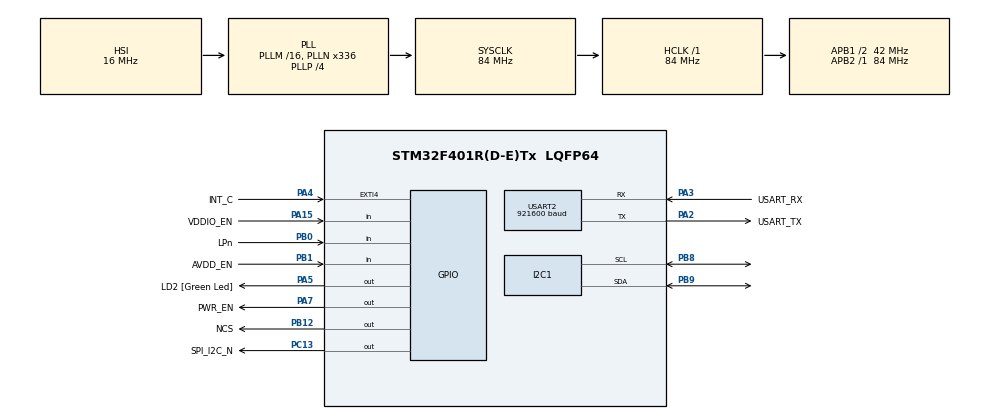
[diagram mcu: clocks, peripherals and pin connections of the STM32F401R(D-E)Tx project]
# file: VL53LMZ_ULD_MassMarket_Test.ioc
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Dma.Request0=USART2_TX
Dma.USART2_TX.0.Direction=DMA_MEMORY_TO_PERIPH
Dma.USART2_TX.0.FIFOMode=DMA_FIFOMODE_DISABLE
Dma.USART2_TX.0.Instance=DMA1_Stream6
Dma.USART2_TX.0.MemDataAlignment=DMA_MDATAALIGN_BYTE
Dma.USART2_TX.0.MemInc=DMA_MINC_ENABLE
Dma.USART2_TX.0.Mode=DMA_NORMAL
Dma.USART2_TX.0.PeriphDataAlignment=DMA_PDATAALIGN_BYTE
Dma.USART2_TX.0.PeriphInc=DMA_PINC_DISABLE
Dma.USART2_TX.0.Priority=DMA_PRIORITY_LOW
I2C1.I2C_Mode=I2C_Fast
Mcu.Family=STM32F4
Mcu.Name=STM32F401R(D-E)Tx
Mcu.Package=LQFP64
NVIC.DMA1_Stream6_IRQn=true\:0\:0\:false\:false\:true\:false\:true\:true
NVIC.EXTI4_IRQn=true\:0\:0\:false\:false\:true\:true\:true\:true
NVIC.PriorityGroup=NVIC_PRIORITYGROUP_0
NVIC.USART2_IRQn=true\:0\:0\:false\:false\:true\:true\:true\:true
PA14.GPIO_Label=TCK
PA14.Signal=SYS_JTCK-SWCLK
PA15.GPIO_Label=VDDIO_EN
PA15.Signal=GPIO_Input
PA2.GPIO_Label=USART_TX
PA2.GPIO_Mode=GPIO_MODE_AF_PP
PA2.GPIO_PuPd=GPIO_NOPULL
PA2.GPIO_Speed=GPIO_SPEED_FREQ_LOW
PA2.Mode=Asynchronous
PA2.Signal=USART2_TX
PA3.GPIO_Label=USART_RX
PA3.GPIO_Mode=GPIO_MODE_AF_PP
PA3.GPIO_PuPd=GPIO_NOPULL
PA3.GPIO_Speed=GPIO_SPEED_FREQ_LOW
PA3.Mode=Asynchronous
PA3.Signal=USART2_RX
PA4.GPIO_Label=INT_C
PA4.GPIO_ModeDefaultEXTI=GPIO_MODE_IT_FALLING
PA4.Signal=GPXTI4
PA5.GPIO_Label=LD2 [Green Led]
PA5.GPIO_Mode=GPIO_MODE_OUTPUT_PP
PA5.GPIO_PuPd=GPIO_NOPULL
PA5.GPIO_Speed=GPIO_SPEED_FREQ_LOW
PA5.Signal=GPIO_Output
PA7.GPIO_Label=PWR_EN
PA7.Signal=GPIO_Output
PA7.Stacked=true
PB0.GPIO_Label=LPn
PB0.GPIO_PuPd=GPIO_PULLUP
PB0.Signal=GPIO_Input
PB1.GPIO_Label=AVDD_EN
PB1.GPIO_PuPd=GPIO_PULLUP
PB1.Signal=GPIO_Input
PB12.GPIO_Label=NCS
PB12.Signal=GPIO_Output
PB8.Mode=I2C
PB8.Signal=I2C1_SCL
PB9.Mode=I2C
PB9.Signal=I2C1_SDA
PC13-ANTI_TAMP.GPIO_Label=SPI_I2C_N
PC13-ANTI_TAMP.GPIO_ModeDefaultOutputPP=GPIO_MODE_OUTPUT_PP
PC13-ANTI_TAMP.GPIO_PuPd=GPIO_NOPULL
PC13-ANTI_TAMP.Signal=GPIO_Output
PC14-OSC32_IN.Mode=LSE-External-Oscillator
PC14-OSC32_IN.Signal=RCC_OSC32_IN
PC15-OSC32_OUT.Mode=LSE-External-Oscillator
PC15-OSC32_OUT.Signal=RCC_OSC32_OUT
PH0\ -\ OSC_IN.Mode=HSE-External-Clock-Source
PH0\ -\ OSC_IN.Signal=RCC_OSC_IN
PH1\ -\ OSC_OUT.Mode=HSE-External-Clock-Source
PH1\ -\ OSC_OUT.Signal=RCC_OSC_OUT
ProjectManager.HeapSize=0x200
ProjectManager.StackSize=0x400
ProjectManager.TargetToolchain=STM32CubeIDE
RCC.48MHZClocksFreq_Value=48000000
RCC.AHBFreq_Value=84000000
RCC.APB1CLKDivider=RCC_HCLK_DIV2
RCC.APB1Freq_Value=42000000
RCC.APB1TimFreq_Value=84000000
RCC.APB2Freq_Value=84000000
RCC.APB2TimFreq_Value=84000000
RCC.CortexFreq_Value=84000000
RCC.HCLKFreq_Value=84000000
RCC.HSE_VALUE=8000000
RCC.HSI_VALUE=16000000
RCC.PLLN=336
RCC.PLLP=RCC_PLLP_DIV4
RCC.PLLQ=7
RCC.SYSCLKFreq_VALUE=84000000
RCC.SYSCLKSource=RCC_SYSCLKSOURCE_PLLCLK
RCC.VCOOutputFreq_Value=336000000
USART2.BaudRate=921600
USART2.OverSampling=UART_OVERSAMPLING_16
USART2.VirtualMode=VM_ASYNC
board=NUCLEO-F401RE

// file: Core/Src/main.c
/* USER CODE BEGIN Header */
/**
  ******************************************************************************
  * @file           : main.c
  * @brief          : Main program body
  ******************************************************************************
  * @attention
  *
  * Copyright (c) 2023 STMicroelectronics.
  * All rights reserved.
  *
  * This software is licensed under terms that can be found in the LICENSE file
  * in the root directory of this software component.
  * If no LICENSE file comes with this software, it is provided AS-IS.
  *
  ******************************************************************************
  */
/* USER CODE END Header */
#include "main.h"

/* USER CODE BEGIN Includes */
#include <stdio.h>

#include "vl53lmz_api.h"

/* USER CODE END Includes */

I2C_HandleTypeDef hi2c1;

UART_HandleTypeDef huart2;
DMA_HandleTypeDef hdma_usart2_tx;

/* USER CODE BEGIN PV */
volatile int IntCount;
/* USER CODE END PV */

void SystemClock_Config(void);
static void MX_GPIO_Init(void);
static void MX_I2C1_Init(void);
static void MX_DMA_Init(void);
static void MX_USART2_UART_Init(void);

/* USER CODE BEGIN 0 */

void HAL_GPIO_EXTI_Callback(uint16_t GPIO_Pin)
{
	if (GPIO_Pin==INT_C_Pin)
	{
		IntCount++;
	}
}

int check_for_gpio_interrupt(void)
{
	if(IntCount != 0) {
		IntCount = 0;
		return 1;
	}
	return 0;
}

int WaitForL5Interrupt(VL53LMZ_Configuration * pDev) {
	while ( !check_for_gpio_interrupt() );
	return(1);
}

//https://electronics.stackexchange.com/questions/206113/how-do-i-use-the-printf-function-on-stm32
__attribute__((weak)) int __io_getchar(void)
{
	int ch = 0;
    HAL_StatusTypeDef status = HAL_UART_Receive(&huart2, (uint8_t *)&ch, 1, 0xFFFF);
    return (status == HAL_OK ? ch : 0);
}

__attribute__((weak)) int __io_putchar(int ch)
{
    HAL_StatusTypeDef status;
    do {
    	status = HAL_UART_Transmit_DMA(&huart2, (uint8_t *)&ch, 1);
    } while ( status == HAL_BUSY );
    return (status == HAL_OK ? ch : 0);
}

// _read() and _write() copied from STM32 syscalls.c file (which Cube.MX insists on removing from project).
__attribute__((weak)) int _read(int file, char *ptr, int len)
{
	int DataIdx;

	for (DataIdx = 0; DataIdx < len; DataIdx++)
	{
		*ptr++ = __io_getchar();
	}

return len;
}

__attribute__((weak)) int _write(int file, char *ptr, int len)
{
	int DataIdx;

	for (DataIdx = 0; DataIdx < len; DataIdx++)
	{
		__io_putchar(*ptr++);
	}
	return len;
}

#define GPIO_FOR_LPn_PIN

void Reset_Sensor_via_GPIO(void)
{
#ifdef GPIO_FOR_LPn_PIN
	/* Set 0 to pin LPn = PB0 */
	HAL_GPIO_WritePin(LPn_GPIO_Port, LPn_Pin, GPIO_PIN_RESET);
#endif

#ifdef GPIO_FOR_PWR_EN
	/* Set 0 to pin PWR_EN = PB0 or PA7 */
	HAL_GPIO_WritePin(PWR_EN_GPIO_Port, PWR_EN_Pin, GPIO_PIN_RESET);
	HAL_Delay(100);

	/* Set 1 to pin PWR_EN */
	HAL_GPIO_WritePin(PWR_EN_GPIO_Port, PWR_EN_Pin, GPIO_PIN_SET);
	HAL_Delay(100);
#endif

#ifdef GPIO_FOR_LPn_PIN
	/* Set 1 to pin LPn */
	HAL_GPIO_WritePin(LPn_GPIO_Port, LPn_Pin, GPIO_PIN_SET);
#endif

	// If I2C master does not support "I2C bus clear" feature, need to toggle I2C_SPI_N pin to release I2C bus
	HAL_GPIO_WritePin(SPI_I2C_N_GPIO_Port, SPI_I2C_N_Pin, GPIO_PIN_RESET);
	HAL_Delay(1);
	HAL_GPIO_WritePin(SPI_I2C_N_GPIO_Port, SPI_I2C_N_Pin, GPIO_PIN_SET);
	HAL_Delay(1);
	HAL_GPIO_WritePin(SPI_I2C_N_GPIO_Port, SPI_I2C_N_Pin, GPIO_PIN_RESET);
	HAL_Delay(1);

	return;
}

/* USER CODE END 0 */

int main(void)
{
  /* USER CODE BEGIN 1 */
	int status;
  /* USER CODE END 1 */

  /* MCU Configuration--------------------------------------------------------*/

  /* Reset of all peripherals, Initializes the Flash interface and the Systick. */
  HAL_Init();

  /* Configure the system clock */
  SystemClock_Config();

  /* Initialize all configured peripherals */
  MX_GPIO_Init();
  MX_I2C1_Init();
  MX_DMA_Init();
  MX_USART2_UART_Init();

  /* USER CODE BEGIN 2 */

	Reset_Sensor_via_GPIO();

	printf("\n\nVL53LMZ_ULD_TEST\n\n");

  /* USER CODE END 2 */

  /* Infinite loop */
  /* USER CODE BEGIN WHILE */
	status = 0;
	while (status==0)
	{
	  //status = example1();
 	  //status = example2();
 	  //status = example5();
 	  status = example12();
  /* USER CODE END WHILE */

    }
}

void SystemClock_Config(void)
{
  RCC_OscInitTypeDef RCC_OscInitStruct = {0};
  RCC_ClkInitTypeDef RCC_ClkInitStruct = {0};

  /** Configure the main internal regulator output voltage
  */
  __HAL_RCC_PWR_CLK_ENABLE();
  __HAL_PWR_VOLTAGESCALING_CONFIG(PWR_REGULATOR_VOLTAGE_SCALE2);

  /** Initializes the RCC Oscillators according to the specified parameters
  * in the RCC_OscInitTypeDef structure.
  */
  RCC_OscInitStruct.OscillatorType = RCC_OSCILLATORTYPE_HSI;
  RCC_OscInitStruct.HSIState = RCC_HSI_ON;
  RCC_OscInitStruct.HSICalibrationValue = RCC_HSICALIBRATION_DEFAULT;
  RCC_OscInitStruct.PLL.PLLState = RCC_PLL_ON;
  RCC_OscInitStruct.PLL.PLLSource = RCC_PLLSOURCE_HSI;
  RCC_OscInitStruct.PLL.PLLM = 16;
  RCC_OscInitStruct.PLL.PLLN = 336;
  RCC_OscInitStruct.PLL.PLLP = RCC_PLLP_DIV4;
  RCC_OscInitStruct.PLL.PLLQ = 7;
  if (HAL_RCC_OscConfig(&RCC_OscInitStruct) != HAL_OK)
  {
    Error_Handler();
  }

  /** Initializes the CPU, AHB and APB buses clocks
  */
  RCC_ClkInitStruct.ClockType = RCC_CLOCKTYPE_HCLK|RCC_CLOCKTYPE_SYSCLK
                              |RCC_CLOCKTYPE_PCLK1|RCC_CLOCKTYPE_PCLK2;
  RCC_ClkInitStruct.SYSCLKSource = RCC_SYSCLKSOURCE_PLLCLK;
  RCC_ClkInitStruct.AHBCLKDivider = RCC_SYSCLK_DIV1;
  RCC_ClkInitStruct.APB1CLKDivider = RCC_HCLK_DIV2;
  RCC_ClkInitStruct.APB2CLKDivider = RCC_HCLK_DIV1;

  if (HAL_RCC_ClockConfig(&RCC_ClkInitStruct, FLASH_LATENCY_2) != HAL_OK)
  {
    Error_Handler();
  }
}

static void MX_I2C1_Init(void)
{

  hi2c1.Instance = I2C1;
  hi2c1.Init.ClockSpeed = 1000000;
  hi2c1.Init.DutyCycle = I2C_DUTYCYCLE_2;
  hi2c1.Init.OwnAddress1 = 0;
  hi2c1.Init.AddressingMode = I2C_ADDRESSINGMODE_7BIT;
  hi2c1.Init.DualAddressMode = I2C_DUALADDRESS_DISABLE;
  hi2c1.Init.OwnAddress2 = 0;
  hi2c1.Init.GeneralCallMode = I2C_GENERALCALL_DISABLE;
  hi2c1.Init.NoStretchMode = I2C_NOSTRETCH_DISABLE;
  if (HAL_I2C_Init(&hi2c1) != HAL_OK)
  {
    Error_Handler();
  }

}

static void MX_USART2_UART_Init(void)
{

  huart2.Instance = USART2;
  huart2.Init.BaudRate = 921600;
  huart2.Init.WordLength = UART_WORDLENGTH_8B;
  huart2.Init.StopBits = UART_STOPBITS_1;
  huart2.Init.Parity = UART_PARITY_NONE;
  huart2.Init.Mode = UART_MODE_TX_RX;
  huart2.Init.HwFlowCtl = UART_HWCONTROL_NONE;
  huart2.Init.OverSampling = UART_OVERSAMPLING_16;
  if (HAL_UART_Init(&huart2) != HAL_OK)
  {
    Error_Handler();
  }

}

static void MX_DMA_Init(void)
{

  /* DMA controller clock enable */
  __HAL_RCC_DMA1_CLK_ENABLE();

  /* DMA interrupt init */
  /* DMA1_Stream6_IRQn interrupt configuration */
  HAL_NVIC_SetPriority(DMA1_Stream6_IRQn, 0, 0);
  HAL_NVIC_EnableIRQ(DMA1_Stream6_IRQn);

}

static void MX_GPIO_Init(void)
{
  GPIO_InitTypeDef GPIO_InitStruct = {0};

  /* GPIO Ports Clock Enable */
  __HAL_RCC_GPIOC_CLK_ENABLE();
  __HAL_RCC_GPIOH_CLK_ENABLE();
  __HAL_RCC_GPIOA_CLK_ENABLE();
  __HAL_RCC_GPIOB_CLK_ENABLE();

  /*Configure GPIO pin Output Level */
  HAL_GPIO_WritePin(SPI_I2C_N_GPIO_Port, SPI_I2C_N_Pin, GPIO_PIN_RESET);

  /*Configure GPIO pin Output Level */
  HAL_GPIO_WritePin(GPIOA, LD2_Pin|PWR_EN_Pin, GPIO_PIN_RESET);

  /*Configure GPIO pin Output Level */
  HAL_GPIO_WritePin(NCS_GPIO_Port, NCS_Pin, GPIO_PIN_RESET);

  /*Configure GPIO pin : SPI_I2C_N_Pin */
  GPIO_InitStruct.Pin = SPI_I2C_N_Pin;
  GPIO_InitStruct.Mode = GPIO_MODE_OUTPUT_PP;
  GPIO_InitStruct.Pull = GPIO_NOPULL;
  GPIO_InitStruct.Speed = GPIO_SPEED_FREQ_LOW;
  HAL_GPIO_Init(SPI_I2C_N_GPIO_Port, &GPIO_InitStruct);

  /*Configure GPIO pin : INT_C_Pin */
  GPIO_InitStruct.Pin = INT_C_Pin;
  GPIO_InitStruct.Mode = GPIO_MODE_IT_FALLING;
  GPIO_InitStruct.Pull = GPIO_NOPULL;
  HAL_GPIO_Init(INT_C_GPIO_Port, &GPIO_InitStruct);

  /*Configure GPIO pins : LD2_Pin PWR_EN_Pin */
  GPIO_InitStruct.Pin = LD2_Pin|PWR_EN_Pin;
  GPIO_InitStruct.Mode = GPIO_MODE_OUTPUT_PP;
  GPIO_InitStruct.Pull = GPIO_NOPULL;
  GPIO_InitStruct.Speed = GPIO_SPEED_FREQ_LOW;
  HAL_GPIO_Init(GPIOA, &GPIO_InitStruct);

  /*Configure GPIO pins : LPn_Pin AVDD_EN_Pin */
  GPIO_InitStruct.Pin = LPn_Pin|AVDD_EN_Pin;
  GPIO_InitStruct.Mode = GPIO_MODE_INPUT;
  GPIO_InitStruct.Pull = GPIO_PULLUP;
  HAL_GPIO_Init(GPIOB, &GPIO_InitStruct);

  /*Configure GPIO pin : NCS_Pin */
  GPIO_InitStruct.Pin = NCS_Pin;
  GPIO_InitStruct.Mode = GPIO_MODE_OUTPUT_PP;
  GPIO_InitStruct.Pull = GPIO_NOPULL;
  GPIO_InitStruct.Speed = GPIO_SPEED_FREQ_LOW;
  HAL_GPIO_Init(NCS_GPIO_Port, &GPIO_InitStruct);

  /*Configure GPIO pin : VDDIO_EN_Pin */
  GPIO_InitStruct.Pin = VDDIO_EN_Pin;
  GPIO_InitStruct.Mode = GPIO_MODE_INPUT;
  GPIO_InitStruct.Pull = GPIO_NOPULL;
  HAL_GPIO_Init(VDDIO_EN_GPIO_Port, &GPIO_InitStruct);

  /* EXTI interrupt init*/
  HAL_NVIC_SetPriority(EXTI4_IRQn, 0, 0);
  HAL_NVIC_EnableIRQ(EXTI4_IRQn);

}

void Error_Handler(void)
{
  __disable_irq();
  while (1)
  {
  }
}
